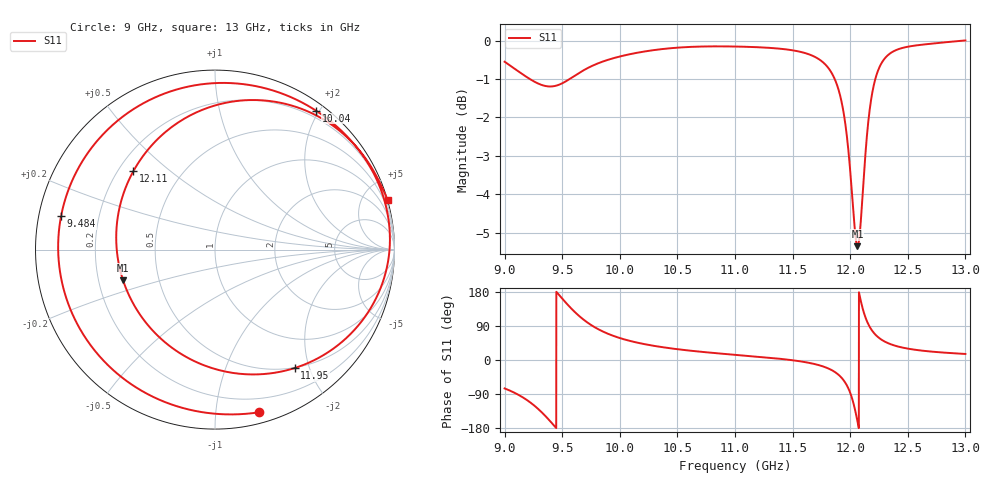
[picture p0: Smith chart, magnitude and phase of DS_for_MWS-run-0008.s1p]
! TOUCHSTONE file generated by CST DESIGN STUDIO
! Date and time: Tue Feb  4 14:26:52 2025
! Project name: C:\Work\MatlabApps\UnitCellOptimizationMatlab\CST\unitcell.cst
! Tree item: Tasks\Sweep1\SPara1\S-Parameters
! Header version: 2024
! Port assignment regex: !\s*Touchstone port\s*([0-9]+)\s*=\s*(CST MWS port|CST DES external port|CST DES block port)\s*(.+)\s* \(\"(.*)\"\)(\s*mode\s*([0-9]+))?.*
! Touchstone port assignment:
! Touchstone port 1 = CST DES external port 1 ("")
# GHz S MA R 50
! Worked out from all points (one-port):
!   4001 points, 9 GHz to 13 GHz, reference 50 ohm
!   lowest |S11| = -5.4 dB at 12.06 GHz (marker M1), VSWR 3.35, Z = 15.3 - j7.34 ohm
!   |S11| at or under -10 dB: nowhere
!   S11 on the Smith chart (normalised r, x): 9 GHz: 0.09, -1.30; 9.484 GHz: 0.07, +0.11; 10.04 GHz: 0.11, +1.96; 11.95 GHz: 0.49, -1.77; 12.11 GHz: 0.26, +0.38; 13 GHz: -0.01, +7.14
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9  0.9388 -75.0
9.154  0.9045 -97.9
9.266  0.8831 -122.4
9.391  0.8716 -159.9
9.484  0.8777 167.6
9.5  0.8799 162.0
9.599  0.8983 129.7
9.696  0.9168 104.0
9.842  0.938 76.8
10  0.9536 57.9
10.043  0.957 54.0
10.5  0.9792 28.5
11  0.9825 13.7
11.5  0.9715 -0.7
11.808  0.9223 -22.1
11.889  0.8725 -36.6
11.949  0.7953 -56.1
12  0.6771 -86.5
12.031  0.5888 -117.3
12.063  0.54 -161.6
12.085  0.5646 165.6
12.108  0.6303 136.3
12.136  0.724 109.5
12.167  0.8081 88.8
12.261  0.9283 55.9
12.357  0.9649 41.0
12.5  0.9819 30.0
13  1.001 15.9
